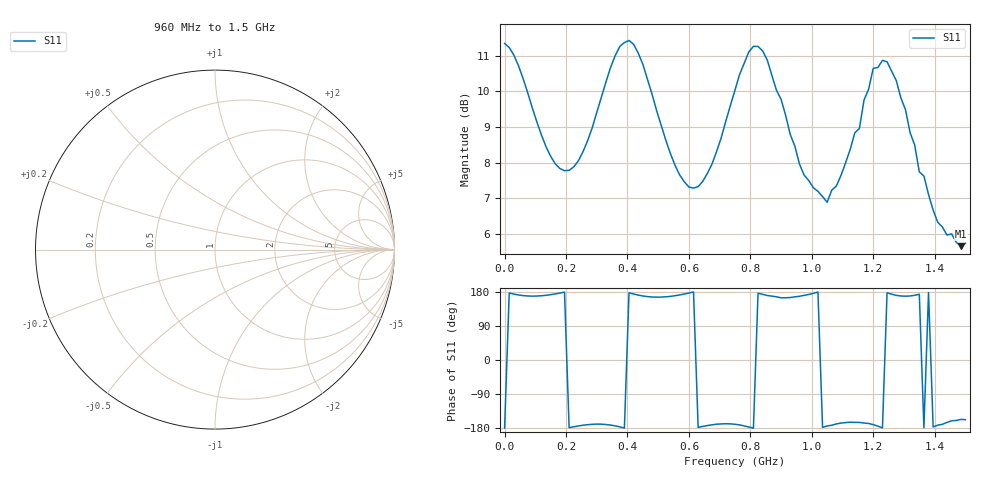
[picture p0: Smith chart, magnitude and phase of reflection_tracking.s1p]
! Created with skrf 1.8.0 (http://scikit-rf.org).
# Hz S RI R 50.0
!freq ReS11 ImS11
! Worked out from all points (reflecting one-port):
!   101 points, 50 kHz to 1.5 GHz, reference 50 ohm
!   lowest |S11| = 5.6 dB at 1.485 GHz (marker M1)
!   phase of S11 starts at -180 deg and turns +22 deg over the sweep
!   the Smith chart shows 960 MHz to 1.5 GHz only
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50000  -3.694 -0.0193
3.0049e7  -3.539 0.3765
7.50475e7  -3.093 0.6043
1.350455e8  -2.609 0.425
1.950435e8  -2.447 0.0395
3.0004e8  -2.902 -0.5534
3.450385e8  -3.383 -0.4944
3.750375e8  -3.652 -0.2222
4.20036e8  -3.665 0.3769
4.650345e8  -3.209 0.7215
5.70031e8  -2.388 0.3458
6.60028e8  -2.407 -0.2966
7.50025e8  -3.124 -0.5739
7.950235e8  -3.59 -0.2004
8.250225e8  -3.652 0.2261
9.0002e8  -2.967 0.8393
9.450185e8  -2.577 0.61
1.050015e9  -2.198 -0.2205
1.125012e9  -2.522 -0.7148
1.18501e9  -3.11 -0.6912
1.230009e9  -3.496 -0.0547
1.275008e9  -3.232 0.5364
1.320006e9  -2.716 0.5322
1.365004e9  -2.404 -0.0526
1.380004e9  -2.264 0.0791
1.455002e9  -1.878 -0.6702
1.485e9  -1.761 -0.757
1.5e9  -1.788 -0.739
